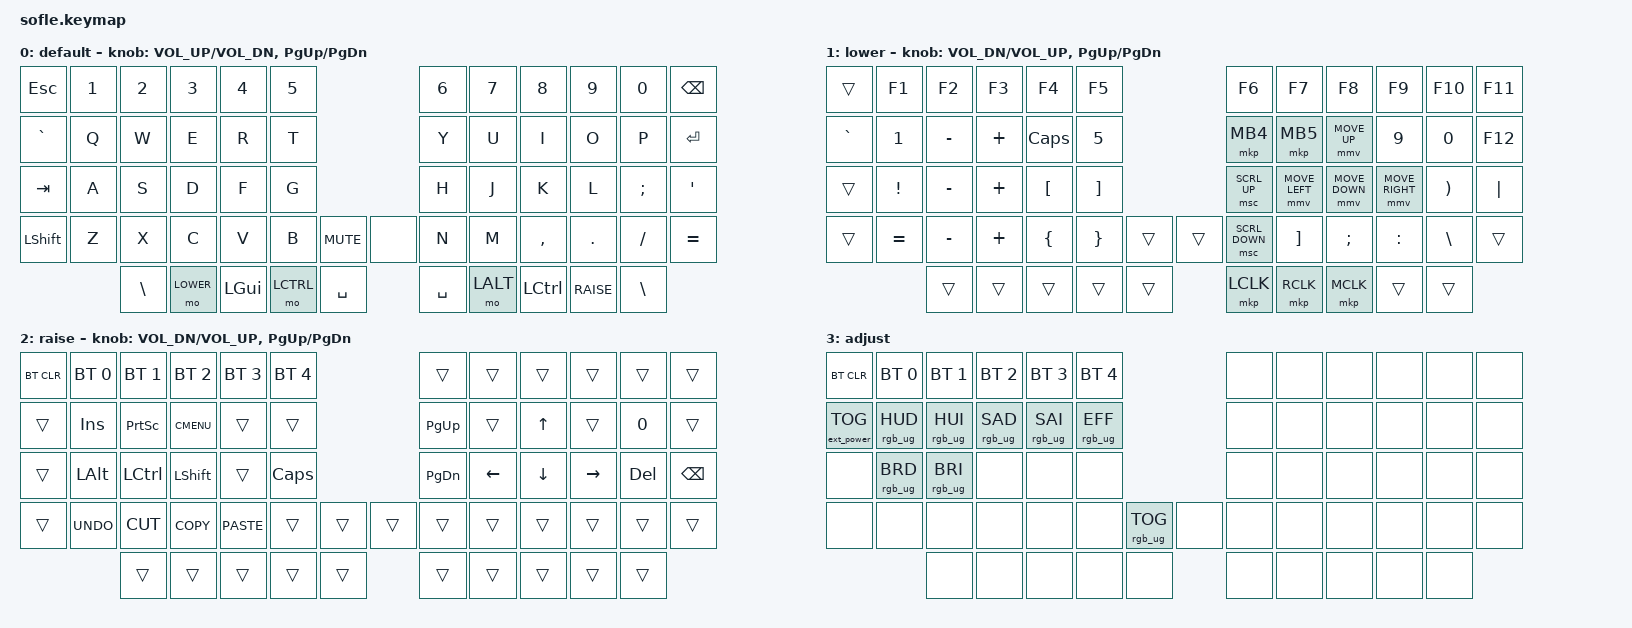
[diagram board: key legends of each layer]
/*
 * Copyright (c) 2020 The ZMK Contributors
 *
 * SPDX-License-Identifier: MIT
 */

#include <behaviors.dtsi>
#include <dt-bindings/zmk/keys.h>
#include <dt-bindings/zmk/bt.h>
#include <dt-bindings/zmk/rgb.h>
#include <dt-bindings/zmk/ext_power.h>

#define ZMK_POINTING_DEFAULT_MOVE_VAL 660  // default: 600
#define ZMK_POINTING_DEFAULT_SCRL_VAL 12    // default: 10

#include <dt-bindings/zmk/pointing.h>

#define BASE 0
#define LOWER 1
#define RAISE 2
#define ADJUST 3

/ {

   // Activate ADJUST layer by pressing raise and lower
    conditional_layers {
        compatible = "zmk,conditional-layers";
        adjust_layer {
            if-layers = <LOWER RAISE>;
            then-layer = <ADJUST>;
        };
    };

    keymap {
        compatible = "zmk,keymap";

        default_layer {
            display-name = "default";
// ------------------------------------------------------------------------------------------------------------
// |  ESC  |  1  |  2  |  3   |  4   |  5   |                   |  6   |  7    |  8    |  9   |   0   | BKSPC |
// |   `   |  Q  |  W  |  E   |  R   |  T   |                   |  Y   |  U    |  I    |  O   |   P   | ENTER |
// |  TAB  |  A  |  S  |  D   |  F   |  G   |                   |  H   |  J    |  K    |  L   |   ;   |   '   |
// | SHIFT |  Z  |  X  |  C   |  V   |  B   |  MUTE  |  |       |  N   |  M    |  ,    |  .   |   /   | SHIFT |
//               | \| | LOWER  | GUI | CTRL|  SPACE |  | SPACE | ALT |  CTRL | RAISE |  \|  |
            bindings = <
&kp ESC   &kp N1 &kp N2   &kp N3   &kp N4    &kp N5                           &kp N6 &kp N7    &kp N8    &kp N9   &kp N0   &kp BSPC
&kp GRAVE &kp Q  &kp W    &kp E    &kp R     &kp T                            &kp Y  &kp U     &kp I     &kp O    &kp P    &kp RET
&kp TAB   &kp A  &kp S    &kp D    &kp F     &kp G                            &kp H  &kp J     &kp K     &kp L    &kp SEMI &kp SQT
&kp LSHFT &kp Z  &kp X    &kp C    &kp V     &kp B      &kp C_MUTE &none      &kp N  &kp M     &kp COMMA &kp DOT  &kp FSLH &kp EQUAL
                 &kp BSLH &mo LOWER &kp LGUI &mo LCTRL  &kp SPACE  &kp SPACE  &mo LALT  &kp LCTRL  &kp RAISE  &kp BSLH
            >;

            sensor-bindings = <&inc_dec_kp C_VOL_UP C_VOL_DN &inc_dec_kp PG_UP PG_DN>;
        };

        lower_layer {
            display-name = "lower";
// TODO: Some binds are waiting for shifted keycode support.
// ------------------------------------------------------------------------------------------------------------
// |       |  F1 |  F2 |  F3  |  F4  |  F5  |                   |  F6  |  F7   |  F8   |  F9  |  F10  |  F19  |
// |   `   |  1  |  -  |  =   | CAPS |  5   |                   | MB4  |  MB5  | MOVE_UP |  9   |   0   |  F12  |
// |       |  !  |  -  |  =   |  [   |  ]   |                   | SCRL_UP | MOVE_LEFT | MOVE_DOWN | MOVE_RIGHT |   )   |   |   |
// | SHIFT |  =  |  -  |  =   |  {   |  }   |        |  |       | SCRL_DOWN |  ]    |  ;    |  :   |   \   |       |
//               |     |      |      |      |        |  | LCLK  |    RCLK   |  MCLK |       |      |
            bindings = <
&trans    &kp F1    &kp F2    &kp F3      &kp F4    &kp F5                    &kp F6    &kp F7         &kp F8         &kp F9           &kp F10   &kp F11
&kp GRAVE &kp N1    &kp MINUS &kp PLUS    &kp CAPS  &kp N5                    &mkp MB4  &mkp MB5      &mmv MOVE_UP   &kp N9           &kp N0    &kp F12
&trans    &kp EXCL  &kp MINUS &kp PLUS    &kp LBKT  &kp RBKT                  &msc SCRL_UP &mmv MOVE_LEFT &mmv MOVE_DOWN &mmv MOVE_RIGHT  &kp RPAR  &kp PIPE
&trans    &kp EQUAL &kp MINUS &kp PLUS    &kp LBRC  &kp RBRC   &trans &trans  &msc SCRL_DOWN  &kp RBKT       &kp SEMI       &kp COLON        &kp BSLH  &trans
                    &trans    &trans      &trans    &trans     &trans &mkp LCLK &mkp RCLK    &mkp MCLK   &trans    &trans
            >;

            sensor-bindings = <&inc_dec_kp C_VOL_DN C_VOL_UP &inc_dec_kp PG_UP PG_DN>;
        };

        raise_layer {
            display-name = "raise";
// ------------------------------------------------------------------------------------------------------------
// | BTCLR | BT1  | BT2  |  BT3  |  BT4  |  BT5 |                |      |      |       |      |       |       |
// |       | INS  | PSCR | GUI   |       |      |                | PGUP |      |   ^   |      |   0   |       |
// |       | ALT  | CTRL | SHIFT |       | CAPS |                | PGDN |   <- |   v   |  ->  |  DEL  | BKSPC |
// |       | UNDO | CUT  | COPY  | PASTE |      |      |  |      |      |      |       |      |       |       |
//                |      |       |       |      |      |  |      |      |      |       |      |
            bindings = <
&bt BT_CLR &bt BT_SEL 0 &bt BT_SEL 1 &bt BT_SEL 2 &bt BT_SEL 3 &bt BT_SEL 4                  &trans    &trans    &trans   &trans    &trans  &trans
&trans     &kp INS      &kp PSCRN    &kp K_CMENU  &trans       &trans                        &kp PG_UP &trans    &kp UP   &trans    &kp N0  &trans
&trans     &kp LALT     &kp LCTRL    &kp LSHFT    &trans       &kp CLCK                      &kp PG_DN &kp LEFT  &kp DOWN &kp RIGHT &kp DEL &kp BSPC
&trans     &kp K_UNDO   &kp K_CUT    &kp K_COPY   &kp K_PASTE  &trans        &trans  &trans  &trans    &trans    &trans   &trans    &trans  &trans
                        &trans       &trans       &trans       &trans        &trans  &trans  &trans    &trans    &trans   &trans
            >;

            sensor-bindings = <&inc_dec_kp C_VOL_DN C_VOL_UP &inc_dec_kp PG_UP PG_DN>;
        };

        adjust_layer {
// ----------------------------------------------------------------------------------------------------------------------------
// | BTCLR  |  BT1    |  BT2    |   BT3   |   BT4   |   BT5   |                  |      |      |       |      |       |       |
// | EXTPWR | RGB_HUD | RGB_HUI | RGB_SAD | RGB_SAI | RGB_EFF |                  |      |      |       |      |       |       |
// |        | RGB_BRD | RGB_BRI |         |         |         |                  |      |      |       |      |       |       |
// |        |         |         |         |         |         | RGB_TOG | |      |      |      |       |      |       |       |
//                    |         |         |         |         |         | |      |      |      |       |      |
            display-name = "adjust";
            bindings = <
&bt BT_CLR        &bt BT_SEL 0    &bt BT_SEL 1    &bt BT_SEL 2    &bt BT_SEL 3    &bt BT_SEL 4                            &none &none &none &none &none &none
&ext_power EP_TOG &rgb_ug RGB_HUD &rgb_ug RGB_HUI &rgb_ug RGB_SAD &rgb_ug RGB_SAI &rgb_ug RGB_EFF                         &none &none &none &none &none &none
&none             &rgb_ug RGB_BRD &rgb_ug RGB_BRI &none           &none           &none                                   &none &none &none &none &none &none
&none             &none           &none           &none           &none           &none            &rgb_ug RGB_TOG &none  &none &none &none &none &none &none
                                  &none           &none           &none           &none            &none           &none  &none &none &none &none
            >;
        };

    };
};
